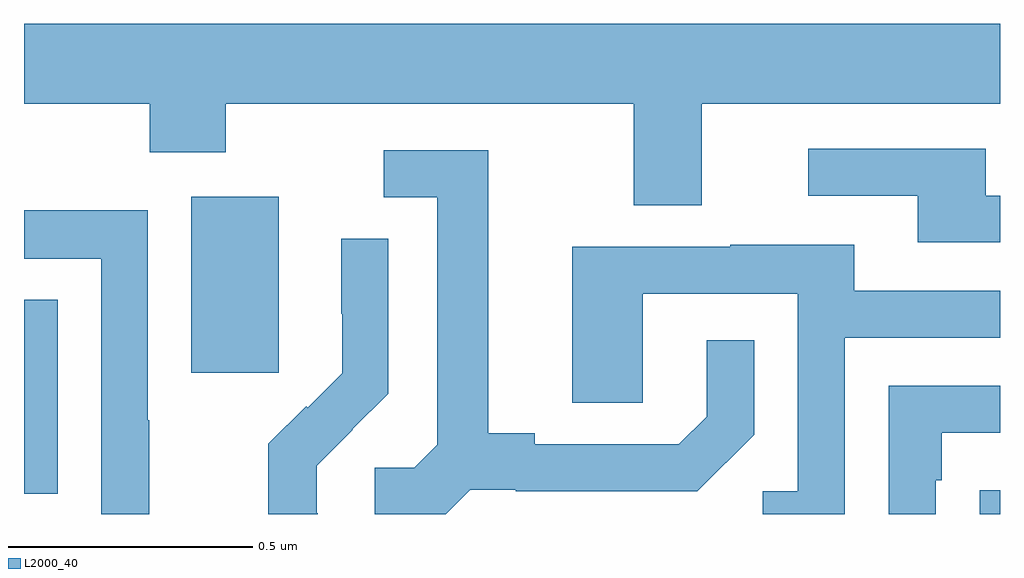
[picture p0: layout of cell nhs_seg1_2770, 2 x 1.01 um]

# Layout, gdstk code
import gdstk
lib = gdstk.Library(unit=1e-6, precision=1e-09)
def R(c, l, rs):  # rectangles x0, y0, x1, y1
    for r in rs: c.add(gdstk.rectangle(r[:2], r[2:], *l))
def P(c, l, *ps):  # polygons
    for p in ps: c.add(gdstk.Polygon(p, *l))
L2000_40 = (2000, 40)

nhs_seg1_2770 = lib.new_cell('nhs_seg1_2770')
R(nhs_seg1_2770, L2000_40, [(146.959,576.199,147,576.248), (145,576.241,145.069,576.638), (145.343,576.489,145.522,576.85)])
P(nhs_seg1_2770, L2000_40, [(146.389,577.04),(147,577.04),(147,577.204),(145,577.204),(145,577.04),(145.258,577.04),(145.258,576.941),(145.413,576.941),(145.413,577.04),(146.249,577.04),(146.249,576.832),(146.389,576.832)],
  [(147,576.852),(146.971,576.852),(146.971,576.948),(146.607,576.948),(146.607,576.852),(146.831,576.852),(146.831,576.756),(147,576.756)],
  [(145.914,576.249),(146.008,576.249),(146.008,576.246),(146.38,576.246),(146.496,576.362),(146.496,576.556),(146.399,576.556),(146.399,576.399),(146.342,576.342),(146.047,576.342),(146.047,576.365),(145.951,576.365),(145.951,576.945),(145.737,576.945),(145.737,576.849),(145.847,576.849),(145.847,576.341),(145.8,576.294),(145.719,576.294),(145.719,576.199),(145.864,576.199)],
  [(145.257,576.392),(145.254,576.392),(145.254,576.822),(145,576.822),(145,576.723),(145.158,576.723),(145.158,576.199),(145.257,576.199)],
  [(145.602,576.201),(145.6,576.201),(145.6,576.298),(145.674,576.372),(145.673,576.373),(145.746,576.446),(145.746,576.764),(145.65,576.764),(145.65,576.61),(145.652,576.61),(145.652,576.488),(145.581,576.417),(145.578,576.42),(145.501,576.343),(145.501,576.199),(145.602,576.199)],
  [(146.682,576.561),(147,576.561),(147,576.657),(146.701,576.657),(146.701,576.751),(146.447,576.751),(146.447,576.747),(146.123,576.747),(146.123,576.427),(146.268,576.427),(146.268,576.651),(146.586,576.651),(146.586,576.246),(146.514,576.246),(146.514,576.199),(146.682,576.199)],
  [(146.868,576.269),(146.881,576.269),(146.881,576.366),(147,576.366),(147,576.462),(146.772,576.462),(146.772,576.199),(146.868,576.199)])

lib.write_gds('nhs_seg1_2770.gds')
